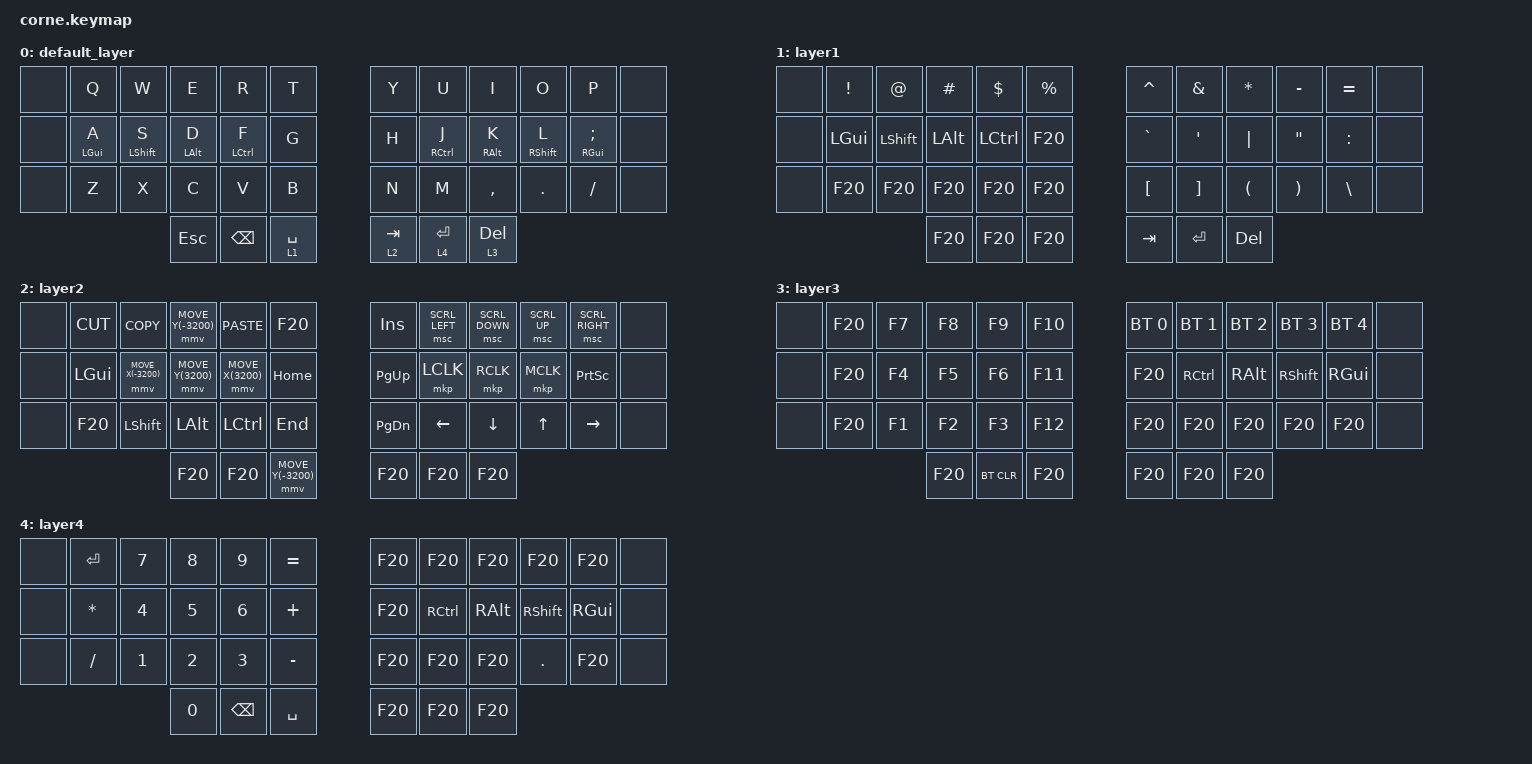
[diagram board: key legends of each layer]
/*
 * Copyright (c) 2020 The ZMK Contributors
 *
 * SPDX-License-Identifier: MIT
 */

#include <behaviors.dtsi>
#include <dt-bindings/zmk/keys.h>
#include <dt-bindings/zmk/bt.h>
#include <dt-bindings/zmk/outputs.h>
#include <dt-bindings/zmk/mouse.h>
#include <dt-bindings/zmk/ext_power.h>
#include <dt-bindings/zmk/pointing.h>

&lt { // layer-tap
  tapping-term-ms = <200>;
  quick-tap-ms = <200>;
  flavor = "hold-preferred";
};
&mt { // mod-tap
  tapping-term-ms = <200>;
  quick-tap-ms = <200>;
  flavor = "tap-preferred";
};
&mmv {
        time-to-max-speed-ms = <500>;
        acceleration-exponent=<1>;
};
&msc {
    time-to-max-speed-ms = <1>;
    acceleration-exponent = <0>;
};
/ {

    keymap {
      compatible = "zmk,keymap";

      default_layer {
          bindings = <
//      ╭───────────────────────────────────────────────────────────╮   ╭───────────────────────────────────────────────────────────╮
//      │     Q     │     W     │     E     │     R     │     T     │   │     Y     │     U     │     I     │     O     │     P     │
   &none    &kp Q       &kp W       &kp E        &kp R      &kp T           &kp Y       &kp U       &kp I       &kp O       &kp P     &none
//      ├───────────┼───────────┼───────────┼───────────┼───────────┤   ├───────────┼───────────┼───────────┼───────────┼───────────┤
//      │     A     │     S     │     D     │     F     │     G     │   │     H     │     J     │     K     │     L     │     :     │
   &none   &mt LGUI A &mt LSHIFT S &mt LALT D &mt LCTRL F    &kp G           &kp H    &mt RCTL J   &mt RALT K &mt RSHFT L &mt RGUI SEMI  &none
//      ├───────────┼───────────┼───────────┼───────────┼───────────┤   ├───────────┼───────────┼───────────┼───────────┼───────────┤
//      │     Z     │     X     │     C     │     V     │     B     │   │     N     │     M     │     ,     │     .     │     /     │
   &none    &kp Z       &kp X       &kp C      &kp V       &kp B           &kp N        &kp M     &kp COMMA    &kp DOT    &kp SLASH   &none
//      ╰───────────┼───────────┼───────────┼───────────┼───────────╯   ╰───────────┼───────────┼───────────┼───────────┼───────────╯
//                                   ESC      Backspace     Space           Tab         Enter      Delete
//                              │                                   │   │                                   │
                                   &kp ESC   &kp BSPC    &lt 1 SPACE      &lt 2 TAB   &lt 4 ENTER  &lt 3 DEL
//                              ╰───────────────────────────────────╯   ╰───────────────────────────────────╯
          >;
      };
        layer1 {
          bindings = <
//      ╭───────────────────────────────────────────────────────────╮   ╭───────────────────────────────────────────────────────────╮
//      │     !     │     @     │     #     │     $     │     %     │   │     ^     │     &     │     *     │     -     │     =     │
 &none    &kp EXCL      &kp AT     &kp HASH    &kp DLLR   &kp PRCNT       &kp CARET   &kp AMPS    &kp STAR    &kp MINUS    &kp EQUAL    &none
//      ├───────────┼───────────┼───────────┼───────────┼───────────┤   ├───────────┼───────────┼───────────┼───────────┼───────────┤
//      │     _     │     _     │     _     │     _     │     _     │   │     `     │     '     │     |     │     "     │     :     │
 &none    &kp LGUI   &kp LSHIFT   &kp LALT    &kp LCTRL    &kp F20        &kp GRAVE    &kp SQT    &kp PIPE     &kp DQT    &kp COLON     &none
//      ├───────────┼───────────┼───────────┼───────────┼───────────┤   ├───────────┼───────────┼───────────┼───────────┼───────────┤
//      │     _     │     _     │     _     │     _     │     _     │   │     [     │     ]     │     (     │     )     │     \     │
 &none    &kp F20     &kp F20      &kp F20     &kp F20     &kp F20        &kp LBKT    &kp RBKT     &kp LPAR   &kp RPAR    &kp BSLH     &none
//      ╰───────────┼───────────┼───────────┼───────────┼───────────╯   ╰───────────┼───────────┼───────────┼───────────┼───────────╯
//                                   ___         ___         ___            ___         ___         ___
//                              │                                   │   │                                   │
                                   &kp F20     &kp F20     &kp F20        &kp TAB     &kp ENTER    &kp DEL
//                              ╰───────────────────────────────────╯   ╰───────────────────────────────────╯
          >;
        };
        layer2 {
          bindings = <
//      ╭───────────────────────────────────────────────────────────╮   ╭───────────────────────────────────────────────────────────╮
//      │     _     │     _     │     _     │     _     │     _     │   │     _     │     _     │     _     │     _     │     _     │
&none    &kp K_CUT  &kp K_COPY &mmv MOVE_Y(-3200) &kp K_PASTE &kp F20 &kp INSERT &msc SCRL_LEFT &msc SCRL_DOWN &msc SCRL_UP &msc SCRL_RIGHT  &none
//      ├───────────┼───────────┼───────────┼───────────┼───────────┤   ├───────────┼───────────┼───────────┼───────────┼───────────┤
//      │     _     │     _     │     _     │     _     │     _     │   │     _     │     _     │     _     │     _     │     _     │
&none &kp LGUI &mmv MOVE_X(-3200) &mmv MOVE_Y(3200) &mmv MOVE_X(3200) &kp HOME &kp PG_UP    &mkp LCLK   &mkp RCLK   &mkp MCLK   &kp PSCRN    &none
//      ├───────────┼───────────┼───────────┼───────────┼───────────┤   ├───────────┼───────────┼───────────┼───────────┼───────────┤
//      │     _     │     _     │     _     │     _     │     _     │   │     _     │     _     │     _     │     _     │     _     │
//           ___         ___         ___         ___         ___             ___         ___         ___         ___         ___     
 &none    &kp F20     &kp LSHFT   &kp LALT    &kp LCTL    &kp END         &kp PG_DN   &kp LEFT    &kp DOWN     &kp UP     &kp RIGHT      &none
//      ╰───────────┼───────────┼───────────┼───────────┼───────────╯   ╰───────────┼───────────┼───────────┼───────────┼───────────╯
//                                   ___         ___         ___            ___         ___         ___
//                              │                                   │   │                                   │
                                &kp F20 &kp F20 &mmv MOVE_Y(-3200)      &kp F20    &kp F20     &kp F20
//                              ╰───────────────────────────────────╯   ╰───────────────────────────────────╯
          >;
        };
        layer3 {
          bindings = <
//      ╭───────────────────────────────────────────────────────────╮   ╭───────────────────────────────────────────────────────────╮
//      │     _     │     _     │     _     │     _     │     _     │   │     _     │     _     │     _     │     _     │     _     │
  &none   &kp F20      &kp F7      &kp F8      &kp F9      &kp F10      &bt BT_SEL 0 &bt BT_SEL 1 &bt BT_SEL 2 &bt BT_SEL 3 &bt BT_SEL 4  &none
//      ├───────────┼───────────┼───────────┼───────────┼───────────┤   ├───────────┼───────────┼───────────┼───────────┼───────────┤
//      │     _     │     _     │     _     │     _     │     _     │   │     _     │     _     │     _     │     _     │     _     │
  &none   &kp F20      &kp F4      &kp F5      &kp F6      &kp F11        &kp F20     &kp RCTL    &kp RALT    &kp RSHFT    &kp RGUI     &none
//      ├───────────┼───────────┼───────────┼───────────┼───────────┤   ├───────────┼───────────┼───────────┼───────────┼───────────┤
//      │     _     │     _     │     _     │     _     │     _     │   │     _     │     _     │     _     │     _     │     _     │
  &none   &kp F20      &kp F1      &kp F2      &kp F3      &kp F12        &kp F20     &kp F20     &kp F20     &kp F20      &kp F20      &none
//      ╰───────────┼───────────┼───────────┼───────────┼───────────╯   ╰───────────┼───────────┼───────────┼───────────┼───────────╯
//                                   ___         ___         ___            ___         ___         ___
//                              │                                   │   │                                   │
                                   &kp F20     &bt BT_CLR  &kp F20        &kp F20     &kp F20     &kp F20
//                              ╰───────────────────────────────────╯   ╰───────────────────────────────────╯
          >;
        };
        layer4 {
          bindings = <
//      ╭───────────────────────────────────────────────────────────╮   ╭───────────────────────────────────────────────────────────╮
//      │     _     │     _     │     _     │     _     │     _     │   │     _     │     _     │     _     │     _     │     _     │
  &none   &kp ENTER    &kp N7      &kp N8      &kp N9     &kp EQUAL        &kp F20     &kp F20     &kp F20     &kp F20     &kp F20      &none
//      ├───────────┼───────────┼───────────┼───────────┼───────────┤   ├───────────┼───────────┼───────────┼───────────┼───────────┤
//      │     _     │     _     │     _     │     _     │     _     │   │     _     │     _     │     _     │     _     │     _     │
  &none   &kp STAR     &kp N4      &kp N5      &kp N6     &kp PLUS         &kp F20     &kp RCTL    &kp RALT    &kp RSHFT   &kp RGUI     &none
//      ├───────────┼───────────┼───────────┼───────────┼───────────┤   ├───────────┼───────────┼───────────┼───────────┼───────────┤
//      │     _     │     _     │     _     │     _     │     _     │   │     _     │     _     │     _     │     _     │     _     │
  &none   &kp SLASH    &kp N1      &kp N2      &kp N3     &kp MINUS        &kp F20     &kp F20     &kp F20     &kp DOT     &kp F20      &none
//      ╰───────────┼───────────┼───────────┼───────────┼───────────╯   ╰───────────┼───────────┼───────────┼───────────┼───────────╯
//                                   ___         ___         ___            ___         ___         ___
//                              │                                   │   │                                   │
                                   &kp N0      &kp BSPC   &kp SPACE        &kp F20     &kp F20     &kp F20
//                              ╰───────────────────────────────────╯   ╰───────────────────────────────────╯
          >;
        };
  }; 
};  

//                                  Template for new layers all keys are transparent
//      ╭───────────────────────────────────────────────────────────╮   ╭───────────────────────────────────────────────────────────╮
//      │     _     │     _     │     _     │     _     │     _     │   │     _     │     _     │     _     │     _     │     _     │
//           ___          ___         ___         ___         ___             ___         ___         ___         ___         ___     
//      ├───────────┼───────────┼───────────┼───────────┼───────────┤   ├───────────┼───────────┼───────────┼───────────┼───────────┤
//      │     _     │     _     │     _     │     _     │     _     │   │     _     │     _     │     _     │     _     │     _     │
//           ___         ___         ___         ___         ___             ___         ___         ___         ___         ___     
//      ├───────────┼───────────┼───────────┼───────────┼───────────┤   ├───────────┼───────────┼───────────┼───────────┼───────────┤
//      │     _     │     _     │     _     │     _     │     _     │   │     _     │     _     │     _     │     _     │     _     │
//           ___         ___         ___         ___         ___             ___         ___         ___         ___         ___     
//      ╰───────────┼───────────┼───────────┼───────────┼───────────╯   ╰───────────┼───────────┼───────────┼───────────┼───────────╯
//                                   ___         ___         ___            ___         ___         ___
//                              │                                   │   │                                   │
//                              ╰───────────────────────────────────╯   ╰───────────────────────────────────╯
